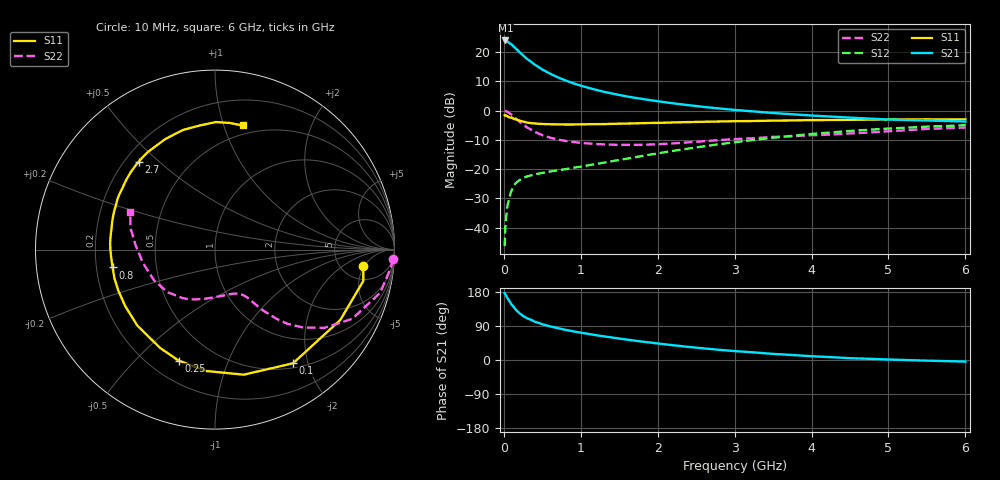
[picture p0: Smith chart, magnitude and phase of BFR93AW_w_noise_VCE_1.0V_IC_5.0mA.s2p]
! Infineon Technologies  Discrete & RF Semiconductors
! BFR93AW
! VCE =  1.0 V,  IC =  5.0 mA
! Common Emitter S-Parameters:  Jan 2017
# GHz  S  MA  R  50
!  f  S11  S21  S12  S22
! GHz  MAG  ANG  MAG  ANG  MAG  ANG  MAG  ANG
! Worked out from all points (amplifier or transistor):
!   77 points, 10 MHz to 6 GHz, reference 50 ohm
!   highest |S21| = 24.0 dB at 20 MHz (marker M1)
!   |S21| within 3 dB of that: start of sweep to 166 MHz
!   unconditionally stable (mu >= 1): 971.7 MHz to 2.563 GHz
!   at 130 MHz: K = 0.20, MSG = 23.9 dB, |S12| = -25.8 dB
!   at 2.2 GHz: K = 1.05, MAG = 6.7 dB, |S12| = -13.8 dB
!   at 6 GHz: K = 0.96, MSG = 0.6 dB, |S12| = -5.0 dB
!   lowest NFmin = 1.18 dB at 450 MHz
!   S11 on the Smith chart (normalised r, x): 10 MHz: 8.10, -4.71; 100 MHz: 0.57, -1.76; 250 MHz: 0.32, -0.68; 800 MHz: 0.27, -0.08; 2.7 GHz: 0.26, +0.43; 6 GHz: 0.42, +1.16
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0.01  0.8315 -6.2  15.73 176.5  0.0048 86.5  0.9947 -3.0
0.02  0.8446 -12.0  15.88 172.9  0.0102 87.6  0.9837 -6.1
0.05  0.8007 -29.3  15.17 162.1  0.0244 74.3  0.9516 -14.6
0.1  0.7683 -55.5  13.59 146.4  0.0431 63.9  0.8571 -26.7
0.15  0.7152 -77.0  11.8 133.8  0.0567 54.3  0.7494 -35.6
0.2  0.6781 -94.3  10.16 124.0  0.0644 48.4  0.655 -41.5
0.25  0.6507 -108.2  8.825 116.2  0.071 44.9  0.5797 -45.6
0.3  0.6274 -119.2  7.711 110.4  0.0746 42.0  0.518 -48.3
0.4  0.6054 -135.6  6.147 101.2  0.081 39.9  0.435 -51.6
0.5  0.5912 -147.6  5.057 94.4  0.0862 39.5  0.3808 -53.5
0.6  0.5854 -156.8  4.298 88.8  0.0908 40.6  0.3452 -54.8
0.8  0.5795 -170.1  3.294 79.6  0.0996 43.5  0.3036 -57.6
0.9  0.5798 -175.5  2.946 75.7  0.1051 44.7  0.2913 -59.3
1.1  0.5857 175.6  2.456 68.8  0.1162 48.3  0.2746 -63.4
1.3  0.5888 168.1  2.104 62.4  0.1285 50.8  0.2649 -68.5
1.6  0.6016 158.5  1.751 53.8  0.1508 53.7  0.2607 -77.6
2.1  0.6222 144.8  1.391 41.3  0.1953 55.8  0.2704 -95.4
2.7  0.6483 130.9  1.123 28.8  0.2558 54.4  0.3065 -115.5
3.1  0.6615 122.3  1.005 22.2  0.2989 51.7  0.3301 -127.2
4.1  0.6903 103.3  0.811 9.0  0.4087 41.6  0.3834 -156.7
5.1  0.7099 88.3  0.699 0.7  0.5012 29.2  0.4517 174.0
6  0.7085 77.5  0.653 -4.2  0.5636 18.1  0.5153 156.2
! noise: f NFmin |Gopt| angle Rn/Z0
0.45  1.18  0.25  77  0.14
0.9  1.5  0.29  137  0.15
1.9  2.75  0.49  -153  0.19
2.4  3.37  0.57  -135  0.38
